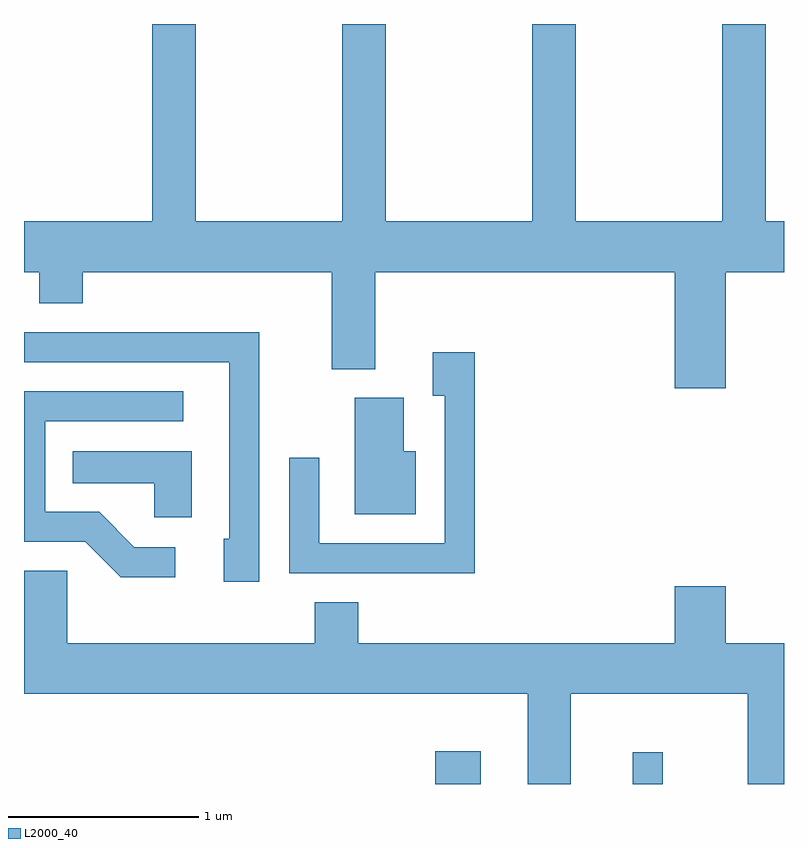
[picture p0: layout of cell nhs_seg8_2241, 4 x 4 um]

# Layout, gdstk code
import gdstk
lib = gdstk.Library(unit=1e-6, precision=1e-09)
def R(c, l, rs):  # rectangles x0, y0, x1, y1
    for r in rs: c.add(gdstk.rectangle(r[:2], r[2:], *l))
def P(c, l, *ps):  # polygons
    for p in ps: c.add(gdstk.Polygon(p, *l))
L2000_40 = (2000, 40)

nhs_seg8_2241 = lib.new_cell('nhs_seg8_2241')
R(nhs_seg8_2241, L2000_40, [(253.776,1880.342,254.014,1880.514), (254.816,1880.342,254.974,1880.508)])
P(nhs_seg8_2241, L2000_40, [(255.304,1883.036),(255.611,1883.036),(255.611,1883.304),(255.514,1883.304),(255.514,1884.342),(255.286,1884.342),(255.286,1883.304),(254.514,1883.304),(254.514,1884.342),(254.286,1884.342),(254.286,1883.304),(253.514,1883.304),(253.514,1884.342),(253.286,1884.342),(253.286,1883.304),(252.514,1883.304),(252.514,1884.342),(252.286,1884.342),(252.286,1883.304),(251.611,1883.304),(251.611,1883.036),(251.691,1883.036),(251.691,1882.871),(251.919,1882.871),(251.919,1883.036),(253.231,1883.036),(253.231,1882.526),(253.459,1882.526),(253.459,1883.036),(255.036,1883.036),(255.036,1882.426),(255.304,1882.426)],
  [(252.849,1882.719),(251.611,1882.719),(251.611,1882.561),(252.691,1882.561),(252.691,1881.634),(252.661,1881.634),(252.661,1881.406),(252.849,1881.406)],
  [(253.984,1882.614),(253.761,1882.614),(253.761,1882.386),(253.826,1882.386),(253.826,1881.609),(253.164,1881.609),(253.164,1882.058),(253.006,1882.058),(253.006,1881.451),(253.984,1881.451)],
  [(252.408,1881.589),(252.192,1881.589),(252.007,1881.774),(251.724,1881.774),(251.724,1882.251),(252.448,1882.251),(252.448,1882.409),(251.611,1882.409),(251.611,1881.616),(251.934,1881.616),(252.119,1881.431),(252.408,1881.431)],
  [(253.674,1882.094),(253.609,1882.094),(253.609,1882.374),(253.351,1882.374),(253.351,1881.761),(253.674,1881.761)],
  [(252.494,1882.094),(251.868,1882.094),(251.868,1881.926),(252.296,1881.926),(252.296,1881.746),(252.494,1881.746)],
  [(254.489,1880.816),(255.421,1880.816),(255.421,1880.342),(255.611,1880.342),(255.611,1881.084),(255.304,1881.084),(255.304,1881.384),(255.036,1881.384),(255.036,1881.084),(253.369,1881.084),(253.369,1881.299),(253.141,1881.299),(253.141,1881.084),(251.839,1881.084),(251.839,1881.464),(251.611,1881.464),(251.611,1880.816),(254.261,1880.816),(254.261,1880.342),(254.489,1880.342)])

lib.write_gds('nhs_seg8_2241.gds')
